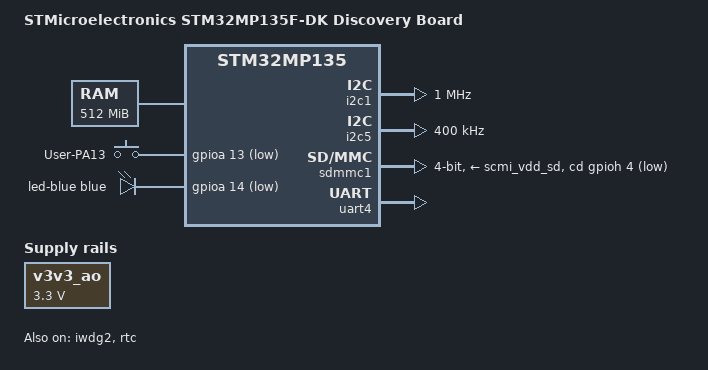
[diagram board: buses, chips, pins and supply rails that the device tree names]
// SPDX-License-Identifier: (GPL-2.0+ OR BSD-3-Clause)
/*
 * Copyright (C) STMicroelectronics 2021 - All Rights Reserved
 * Author: Alexandre Torgue <alexandre.torgue@foss.st.com> for STMicroelectronics.
 */

/dts-v1/;

#include <dt-bindings/gpio/gpio.h>
#include <dt-bindings/input/input.h>
#include <dt-bindings/leds/common.h>
#include <dt-bindings/regulator/st,stm32mp13-regulator.h>
#include "stm32mp135.dtsi"
#include "stm32mp13xf.dtsi"
#include "stm32mp13-pinctrl.dtsi"

/ {
	model = "STMicroelectronics STM32MP135F-DK Discovery Board";
	compatible = "st,stm32mp135f-dk", "st,stm32mp135";

	aliases {
		serial0 = &uart4;
	};

	memory@c0000000 {
		device_type = "memory";
		reg = <0xc0000000 0x20000000>;
	};

	reserved-memory {
		#address-cells = <1>;
		#size-cells = <1>;
		ranges;

		optee@dd000000 {
			reg = <0xdd000000 0x3000000>;
			no-map;
		};
	};

	gpio-keys {
		compatible = "gpio-keys";

		user-pa13 {
			label = "User-PA13";
			linux,code = <BTN_1>;
			gpios = <&gpioa 13 (GPIO_ACTIVE_LOW | GPIO_PULL_UP)>;
		};
	};

	leds {
		compatible = "gpio-leds";

		led-blue {
			function = LED_FUNCTION_HEARTBEAT;
			color = <LED_COLOR_ID_BLUE>;
			gpios = <&gpioa 14 GPIO_ACTIVE_LOW>;
			linux,default-trigger = "heartbeat";
			default-state = "off";
		};
	};

	v3v3_ao: v3v3-ao {
		compatible = "regulator-fixed";
		regulator-name = "v3v3_ao";
		regulator-min-microvolt = <3300000>;
		regulator-max-microvolt = <3300000>;
		regulator-always-on;
	};
};

&i2c1 {
	pinctrl-names = "default", "sleep";
	pinctrl-0 = <&i2c1_pins_a>;
	pinctrl-1 = <&i2c1_sleep_pins_a>;
	i2c-scl-rising-time-ns = <96>;
	i2c-scl-falling-time-ns = <3>;
	clock-frequency = <1000000>;
	status = "okay";
	/* spare dmas for other usage */
	/delete-property/dmas;
	/delete-property/dma-names;

	mcp23017: pinctrl@21 {
		compatible = "microchip,mcp23017";
		reg = <0x21>;
		gpio-controller;
		#gpio-cells = <2>;
		interrupts = <12 IRQ_TYPE_LEVEL_LOW>;
		interrupt-parent = <&gpiog>;
		pinctrl-names = "default";
		pinctrl-0 = <&mcp23017_pins_a>;
		interrupt-controller;
		#interrupt-cells = <2>;
		microchip,irq-mirror;
	};
};

&i2c5 {
	pinctrl-names = "default", "sleep";
	pinctrl-0 = <&i2c5_pins_a>;
	pinctrl-1 = <&i2c5_sleep_pins_a>;
	i2c-scl-rising-time-ns = <170>;
	i2c-scl-falling-time-ns = <5>;
	clock-frequency = <400000>;
	status = "okay";
	/* spare dmas for other usage */
	/delete-property/dmas;
	/delete-property/dma-names;
};

&iwdg2 {
	timeout-sec = <32>;
	status = "okay";
};

&rtc {
	status = "okay";
};

&scmi_regu {
	scmi_vddcpu: voltd-vddcpu {
		reg = <VOLTD_SCMI_STPMIC1_BUCK1>;
		regulator-name = "vddcpu";
	};
	scmi_vdd: voltd-vdd {
		reg = <VOLTD_SCMI_STPMIC1_BUCK3>;
		regulator-name = "vdd";
	};
	scmi_vddcore: voltd-vddcore {
		reg = <VOLTD_SCMI_STPMIC1_BUCK4>;
		regulator-name = "vddcore";
	};
	scmi_vdd_adc: voltd-vdd-adc {
		reg = <VOLTD_SCMI_STPMIC1_LDO1>;
		regulator-name = "vdd_adc";
	};
	scmi_vdd_usb: voltd-vdd-usb {
		reg = <VOLTD_SCMI_STPMIC1_LDO4>;
		regulator-name = "vdd_usb";
	};
	scmi_vdd_sd: voltd-vdd-sd {
		reg = <VOLTD_SCMI_STPMIC1_LDO5>;
		regulator-name = "vdd_sd";
	};
	scmi_v1v8_periph: voltd-v1v8-periph {
		reg = <VOLTD_SCMI_STPMIC1_LDO6>;
		regulator-name = "v1v8_periph";
	};
	scmi_v3v3_sw: voltd-v3v3-sw {
		reg = <VOLTD_SCMI_STPMIC1_PWR_SW2>;
		regulator-name = "v3v3_sw";
	};
};

&sdmmc1 {
	pinctrl-names = "default", "opendrain", "sleep";
	pinctrl-0 = <&sdmmc1_b4_pins_a &sdmmc1_clk_pins_a>;
	pinctrl-1 = <&sdmmc1_b4_od_pins_a &sdmmc1_clk_pins_a>;
	pinctrl-2 = <&sdmmc1_b4_sleep_pins_a>;
	cd-gpios = <&gpioh 4 (GPIO_ACTIVE_LOW | GPIO_PULL_UP)>;
	disable-wp;
	st,neg-edge;
	bus-width = <4>;
	vmmc-supply = <&scmi_vdd_sd>;
	status = "okay";
};

&spi5 {
	pinctrl-names = "default", "sleep";
	pinctrl-0 = <&spi5_pins_a>;
	pinctrl-1 = <&spi5_sleep_pins_a>;
	status = "disabled";
};

&uart4 {
	pinctrl-names = "default";
	pinctrl-0 = <&uart4_pins_a>;
	status = "okay";
};
